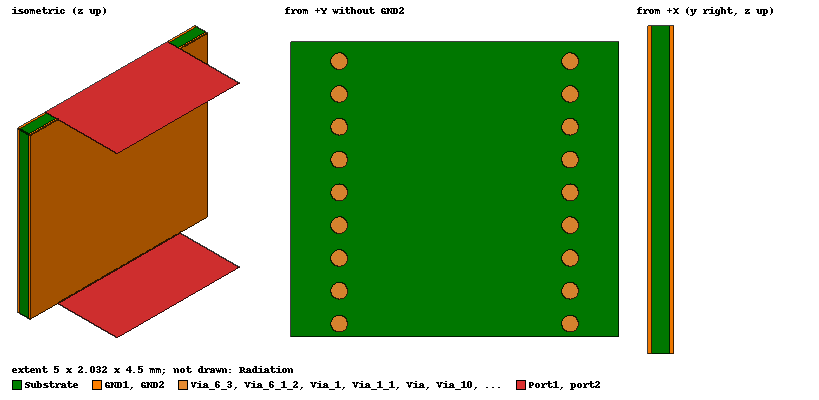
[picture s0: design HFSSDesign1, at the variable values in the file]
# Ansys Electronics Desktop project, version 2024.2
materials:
  vacuum: permittivity=1
  Rogers RO3003 (tm): permittivity=3 dielectric_loss_tangent=0.0013
  Rogers RT/duroid 5880 (tm): permittivity=2.2 dielectric_loss_tangent=0.0009
  copper: permeability=0.999991 conductivity=58000000
  Rogers TMM 10i (tm): permittivity=9.8 dielectric_loss_tangent=0.002

design HFSSDesign1 (HFSS, HFSS Modal Network, model units mm)
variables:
  sa = 5mm
  L = 4.5mm
  sb = 0.254mm
  th = 0.05mm
  position = 3.52mm
  portsize = 3.45mm
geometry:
  Substrate [Rogers TMM 10i (tm)] = box(corner=(-sa/2, -sb/2, 0mm), size=(sa, sb, L))
  GND1 [copper] = box(corner=(-sa/2, -sb/2 - th, 0mm), size=(sa, th, L))
  GND2 [copper] = box(corner=(-sa/2, sb/2, 0mm), size=(sa, th, L))
  Via [copper] = cylinder(axis=Y, base_centre=(-position/2, -sb/2, 0.2mm), radius=sb/2, height=sb)
  Via_1..Via_6 [copper] = Via.duplicate_along_line(step=(0mm, 0mm, 0.5mm), total=10)  # copies kept: 1..6
  Via_10 [copper] = Via.duplicate_mirror(point=(0mm, 0mm, 0mm), normal=(1mm, 0mm, 0mm))
  Via_1_1 [copper] = Via_1.duplicate_mirror(point=(0mm, 0mm, 0mm), normal=(1mm, 0mm, 0mm))
  Via_2_1 [copper] = Via_2.duplicate_mirror(point=(0mm, 0mm, 0mm), normal=(1mm, 0mm, 0mm))
  Via_3_1 [copper] = Via_3.duplicate_mirror(point=(0mm, 0mm, 0mm), normal=(1mm, 0mm, 0mm))
  Via_4_1 [copper] = Via_4.duplicate_mirror(point=(0mm, 0mm, 0mm), normal=(1mm, 0mm, 0mm))
  Via_5_1 [copper] = Via_5.duplicate_mirror(point=(0mm, 0mm, 0mm), normal=(1mm, 0mm, 0mm))
  Via_6_1 [copper] = Via_6.duplicate_mirror(point=(0mm, 0mm, 0mm), normal=(1mm, 0mm, 0mm))
  Radiation [vacuum] = box(corner=(-sa/2 - 5mm, -sb/2 -5mm, 0mm), size=(sa +10mm, sb +10mm, L))
  Port1 = rectangle(corner=(-portsize/2, -sb/2 -0.05mm, 0mm), x_size=portsize, y_size=sb*8)
  port2 = rectangle(corner=(-portsize/2, -sb/2 -0.05mm, L), x_size=portsize, y_size=sb*8)
  Via_6_2, Via_6_3 [copper] = Via_6.duplicate_along_line(step=(0mm, 0mm, 0.5mm), total=3)
  Via_6_1_1, Via_6_1_2 [copper] = Via_6_1.duplicate_along_line(step=(0mm, 0mm, 0.5mm), total=3)
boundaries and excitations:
  Rad1: Radiation Objects=Radiation
  1: Lumped Port Objects=Port1 LumpedPortType=Modal Modes{Mode1{IntLine{(0, -0.177, 0) -> (0, 1.855, 0)} CharImp=Zpi}} Impedance=50ohm
  2: Lumped Port Objects=port2 LumpedPortType=Modal Modes{Mode1{IntLine{(0, -0.177, 4.5) -> (0, 1.855, 4.5)} CharImp=Zpi}} Impedance=50ohm
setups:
  Setup1: HfssDriven Frequency=43GHz MaxDeltaS=0.02 MaximumPasses=12 MinimumPasses=1 MinimumConvergedPasses=1 PercentRefinement=30 BasisOrder=1 PortAccuracy=2 DrivenSolverType="Direct Solver"
    sweep Sweep: 13GHz to 60GHz step 0.5GHz; Type=Fast SaveFields
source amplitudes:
  1:1: 1W 0deg
  2:1: 0W 0deg
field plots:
  Mag_E1: E Field in Substrate on Setup1 : Sweep at Freq=25GHz Phase=0deg
